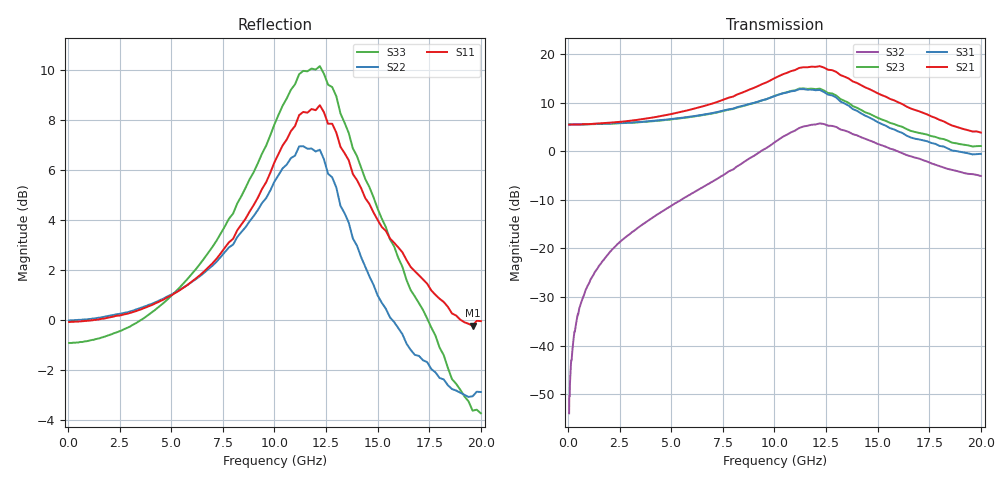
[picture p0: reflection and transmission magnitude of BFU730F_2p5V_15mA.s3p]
! Filename:  P:\Prog\Test\Noise\ATS_data\Testdata_Net\Split files Spar\BFU730_2W_B1_Bias7_2.5V_1mA_25mA_D.s2p
! Date/Time: Fri 29/Apr/2011 15:08:39
! BFU730_2W_B1_Bias7_2.5V_1mA_25mA_R.s2p
! MDIF S-parameter v. bias file
! BFU730_2W_B1_2.5V_1mA_25mA
! Date/time Thu Mar 17 13:38:09 2011
! VAR V_out= 2.5000
! VAR I_out= 15.0750
! VAR V_in= 0.8056
! VAR I_in= 0.0504
! Device data file deembeded for feedlines and parallel
! Original file: \Split files Spar\BFU730_2W_B1_Bias7_2.5V_1mA_25mA_R.s2p
! Feed-files: PR003V01_101208_Feed1.s2p, PR003V01_101208_Feed2.s2p
! Parallel-file: PR003V01_101208_Par.s2p
!3-port S-parameters
# GHz S MA R 50
!  Freq-GHz  S11-mag  S11-arg  S12-mag  S12-arg  S13-mag  S13-arg  S21-mag  S21-arg  S22-mag  S22-arg  S23-mag  S23-arg  S31-mag  S31-arg  S32-mag  S32-arg  S33-mag  S33-arg
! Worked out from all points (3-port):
!   165 points, 60 MHz to 20 GHz, reference 50 ohm
!   strongest paths, dB at 60 MHz, 1.35 GHz, 4.3 GHz, 11.8 GHz, 20 GHz:
!     S21: 5.5, 5.7, 7.1, 17.5, 3.9
!     S31: 5.6, 5.7, 6.4, 12.8, -0.5
!     S23: 5.5, 5.6, 6.3, 13.0, 1.1
!     S32: -54.0, -24.6, -13.1, 5.5, -5.1
!   lowest |S11| = -0.2 dB at 19.6 GHz (marker M1), VSWR 79.00, Z = 4.32 + j121 ohm
!   |S11| at or under -10 dB: nowhere
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0.06  0.992 -0.4  0.002 81.8  0.009 29.1
      1.892 179.5  0.999 -0.2  1.893 -0.3
      1.9 -0.3  0.002 78.8  0.901 179.6
1.3  1.002 -8.4  0.05 89.9  0.097 84.7
     1.929 169.9  1.009 -6.0  1.911 -7.0
     1.918 -5.7  0.057 93.3  0.916 171.5
7.6  1.396 -63.8  0.449 74.4  0.862 72.2
     3.458 116.2  1.368 -47.9  2.636 -52.4
     2.659 -44.1  0.584 93.7  1.539 124.5
10.2  2.148 -113.6  0.93 48.2  1.778 45.8
      5.959 76.4  1.949 -91.1  3.861 -95.4
      3.851 -83.2  1.323 71.6  2.571 87.2
11.2  2.568 -144.5  1.179 27.7  2.253 24.8
      7.259 50.7  2.224 -120.1  4.449 -123.9
      4.391 -110.1  1.745 52.1  3.1 62.4
12.4  2.602 167.9  1.232 -6.5  2.355 -10.0
      7.33 10.2  2.096 -166.7  4.254 -169.0
      4.108 -153.3  1.919 18.9  3.106 23.2
13.6  2.087 129.2  0.977 -31.7  1.853 -36.6
      5.65 -21.8  1.567 154.3  3.17 153.4
      2.965 170.6  1.589 -6.0  2.366 -7.7
14.6  1.707 106.6  0.765 -44.1  1.447 -49.7
      4.397 -39.0  1.224 129.8  2.451 131.8
      2.238 149.7  1.3 -18.3  1.845 -23.1
19.6  0.975 45.0  0.331 -56.2  0.433 -73.1
      1.606 -85.9  0.705 61.0  1.125 61.1
      0.933 77.9  0.584 -35.8  0.66 -59.9
20  0.996 41.0  0.31 -57.9  0.4 -77.9
    1.568 -89.9  0.719 57.0  1.139 57.9
    0.946 74.9  0.559 -37.6  0.652 -61.5
